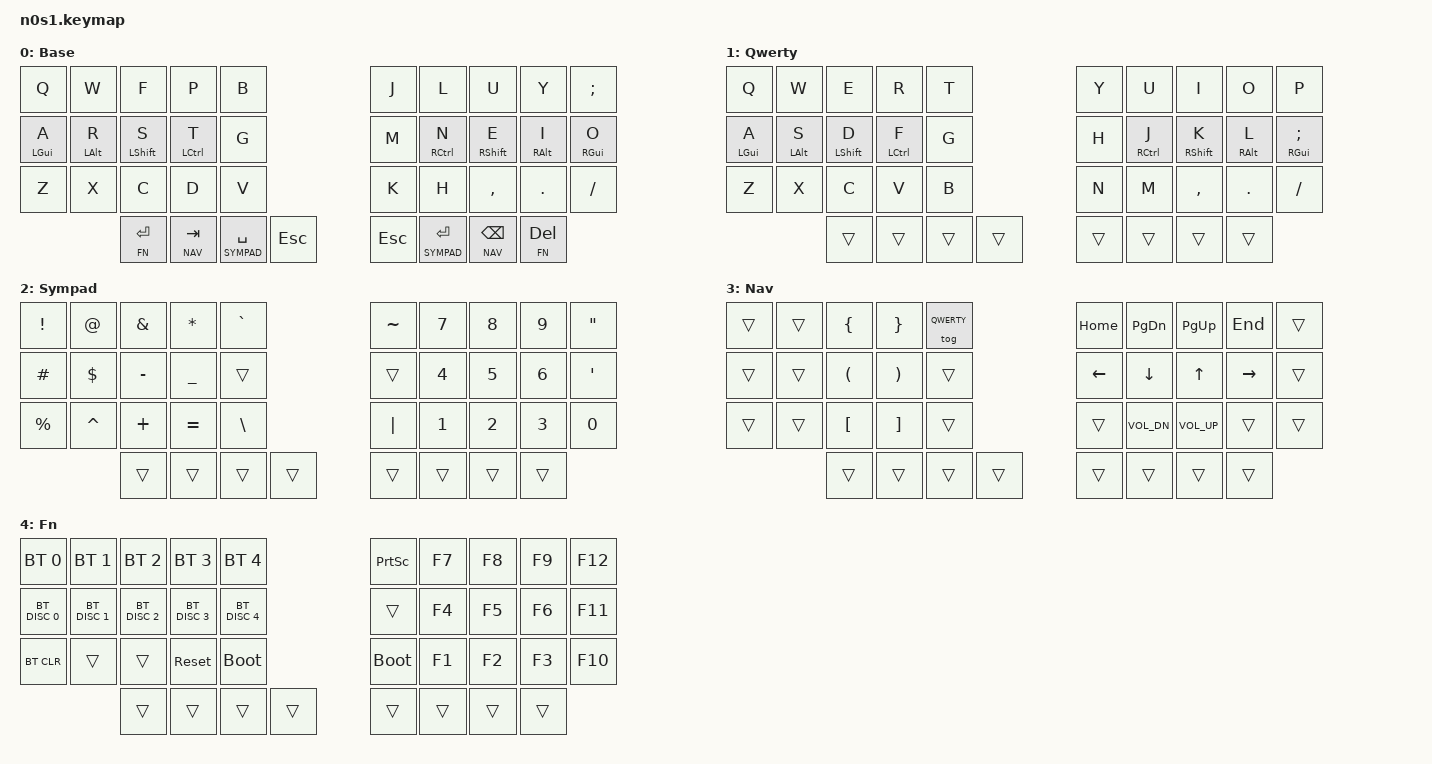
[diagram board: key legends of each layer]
// This file was generated from a template. Edit it to match your keyboard.
// See https://zmk.dev/docs/development/hardware-integration/new-shield for more instructions.
#include <behaviors.dtsi>
#include <dt-bindings/zmk/keys.h>
#include <dt-bindings/zmk/bt.h>

#define BASE 0
#define QWERTY 1
#define SYMPAD 2
#define NAV 3
#define FN 4

&lt {
    quick-tap-ms = <150>;
};

/ {
    behaviors {
        hml: home_row_mod_left {
            compatible = "zmk,behavior-hold-tap";
            #binding-cells = <2>;
            flavor = "balanced";
            require-prior-idle-ms = <150>;
            tapping-term-ms = <280>;
            quick-tap-ms = <175>;
            bindings = <&kp>, <&kp>;
            hold-trigger-key-positions = <5 6 7 8 9 15 16 17 18 19 25 26 27 28 29 34 35 36 37>;
            hold-trigger-on-release;
        };
        hmr: home_row_mod_right {
            compatible = "zmk,behavior-hold-tap";
            #binding-cells = <2>;
            flavor = "balanced";
            require-prior-idle-ms = <150>;
            tapping-term-ms = <280>;
            quick-tap-ms = <175>;
            bindings = <&kp>, <&kp>;
            hold-trigger-key-positions = <0 1 2 3 4 10 11 12 13 14 20 21 22 23 24 30 31 32 33>;
            hold-trigger-on-release;
        };
    };
    keymap {
        compatible = "zmk,keymap";

        default_layer {
            display-name = "Base";
            bindings = <
&kp Q       &kp W       &kp F        &kp P        &kp B                            &kp J          &kp L        &kp U        &kp Y       &kp SEMI
&hml LGUI A &hml LALT R &hml LSHFT S &hml LCTRL T &kp G                            &kp M          &hmr RCTRL N &hmr RSHFT E &hmr RALT I &hmr RGUI O
&kp Z       &kp X       &kp C        &kp D        &kp V                            &kp K          &kp H        &kp COMMA    &kp DOT     &kp FSLH
                        &lt FN RET   &lt NAV TAB  &lt SYMPAD SPACE &kp ESC &kp ESC &lt SYMPAD RET &lt NAV BSPC &lt FN DEL
            >;
        };

        qwerty {
            display-name = "Qwerty";
            bindings = <
&kp Q       &kp W       &kp E        &kp R        &kp T                &kp Y   &kp U        &kp I        &kp O       &kp P
&hml LGUI A &hml LALT S &hml LSHFT D &hml LCTRL F &kp G                &kp H   &hmr RCTRL J &hmr RSHFT K &hmr RALT L &hmr RGUI SEMI
&kp Z       &kp X       &kp C        &kp V        &kp B                &kp N   &kp M        &kp COMMA    &kp DOT     &kp FSLH
                        &trans       &trans       &trans &trans &trans &trans  &trans       &trans
            >;
        };

        sympad {
            display-name = "Sympad";
            bindings = <
&kp EXCL    &kp AT     &kp AMPS  &kp STAR  &kp GRAVE              &kp TILDE &kp N7 &kp N8 &kp N9 &kp DQT
&kp HASH    &kp DOLLAR &kp MINUS &kp UNDER &trans                 &trans    &kp N4 &kp N5 &kp N6 &kp SQT
&kp PERCENT &kp CARET  &kp PLUS  &kp EQUAL &kp BACKSLASH          &kp PIPE  &kp N1 &kp N2 &kp N3 &kp N0
                       &trans    &trans    &trans   &trans &trans &trans    &trans &trans
            >;
        };

        nav {
            display-name = "Nav";
            bindings = <
&trans &trans &kp LBRC &kp RBRC &tog QWERTY          &kp HOME &kp PG_DN    &kp PG_UP    &kp END   &trans
&trans &trans &kp LPAR &kp RPAR &trans               &kp LEFT &kp DOWN     &kp UP       &kp RIGHT &trans
&trans &trans &kp LBKT &kp RBKT &trans               &trans   &kp C_VOL_DN &kp C_VOL_UP &trans    &trans
              &trans   &trans   &trans &trans &trans &trans   &trans       &trans
            >;
        };
        fn {
            display-name = "Fn";
            bindings = <
&bt BT_SEL  0 &bt BT_SEL  1 &bt BT_SEL  2 &bt BT_SEL  3 &bt BT_SEL  4              &kp PSCRN   &kp F7 &kp F8 &kp F9 &kp F12
&bt BT_DISC 0 &bt BT_DISC 1 &bt BT_DISC 2 &bt BT_DISC 3 &bt BT_DISC 4              &trans      &kp F4 &kp F5 &kp F6 &kp F11
&bt BT_CLR    &trans        &trans        &sys_reset    &bootloader                &bootloader &kp F1 &kp F2 &kp F3 &kp F10
                            &trans        &trans        &trans       &trans &trans &trans      &trans &trans
            >;
        };

    };
};

